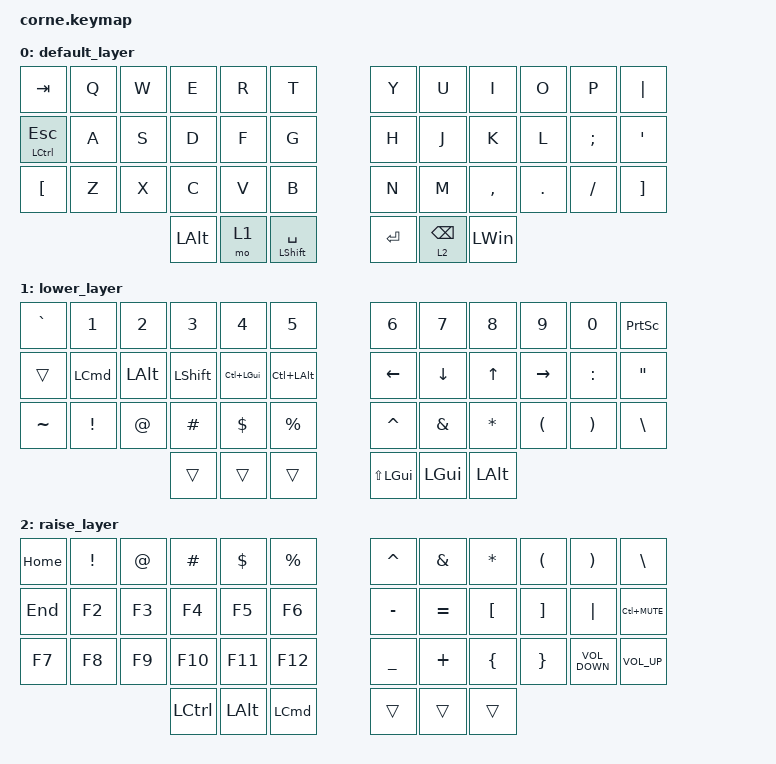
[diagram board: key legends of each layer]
/*
 * Copyright (c) 2020 The ZMK Contributors
 *
 * SPDX-License-Identifier: MIT
 */

#include <behaviors.dtsi>
#include <dt-bindings/zmk/keys.h>

/ {
    combos { compatible = "zmk,combos"; };

    keymap {
        compatible = "zmk,keymap";

        default_layer {
            bindings = <
&kp TAB           &kp Q  &kp W  &kp E         &kp R  &kp T                   &kp Y      &kp U            &kp I         &kp O    &kp P      &kp PIPE
&mt LCTRL ESC     &kp A  &kp S  &kp D         &kp F  &kp G                   &kp H      &kp J            &kp K         &kp L    &kp SEMI   &kp SINGLE_QUOTE
&kp LEFT_BRACKET  &kp Z  &kp X  &kp C         &kp V  &kp B                   &kp N      &kp M            &kp COMMA     &kp DOT  &kp SLASH  &kp RIGHT_BRACKET
                                &kp LEFT_ALT  &mo 1  &mt LEFT_SHIFT SPACE    &kp ENTER  &lt 2 BACKSPACE  &kp LEFT_WIN
            >;
        };

        lower_layer {
            bindings = <
&kp GRAVE  &kp N1            &kp N2        &kp N3          &kp N4            &kp N5              &kp N6            &kp N7        &kp N8        &kp N9                &kp N0                 &kp PRINTSCREEN
&trans     &kp LEFT_COMMAND  &kp LEFT_ALT  &kp LEFT_SHIFT  &kp LC(LEFT_GUI)  &kp LC(LEFT_ALT)    &kp LEFT          &kp DOWN      &kp UP        &kp RIGHT             &kp COLON              &kp DOUBLE_QUOTES
&kp TILDE  &kp EXCLAMATION   &kp AT        &kp HASH        &kp DOLLAR        &kp PERCENT         &kp CARET         &kp AMPS      &kp ASTRK     &kp LEFT_PARENTHESIS  &kp RIGHT_PARENTHESIS  &kp BSLH
                                           &trans          &trans            &trans              &kp LS(LEFT_GUI)  &kp LEFT_GUI  &kp LEFT_ALT
            >;
        };

        raise_layer {
            bindings = <
&kp HOME  &kp EXCLAMATION  &kp AT  &kp HASH   &kp DOLLAR    &kp PERCENT         &kp CARET  &kp AMPS   &kp ASTERISK      &kp LPAR           &kp RIGHT_PARENTHESIS  &kp BACKSLASH
&kp END   &kp F2           &kp F3  &kp F4     &kp F5        &kp F6              &kp MINUS  &kp EQUAL  &kp LEFT_BRACKET  &kp RIGHT_BRACKET  &kp PIPE               &kp LC(K_MUTE)
&kp F7    &kp F8           &kp F9  &kp F10    &kp F11       &kp F12             &kp UNDER  &kp PLUS   &kp LEFT_BRACE    &kp RIGHT_BRACE    &kp C_VOLUME_DOWN      &kp C_VOL_UP
                                   &kp LCTRL  &kp LEFT_ALT  &kp LEFT_COMMAND    &trans     &trans     &trans
            >;
        };
    };
};
